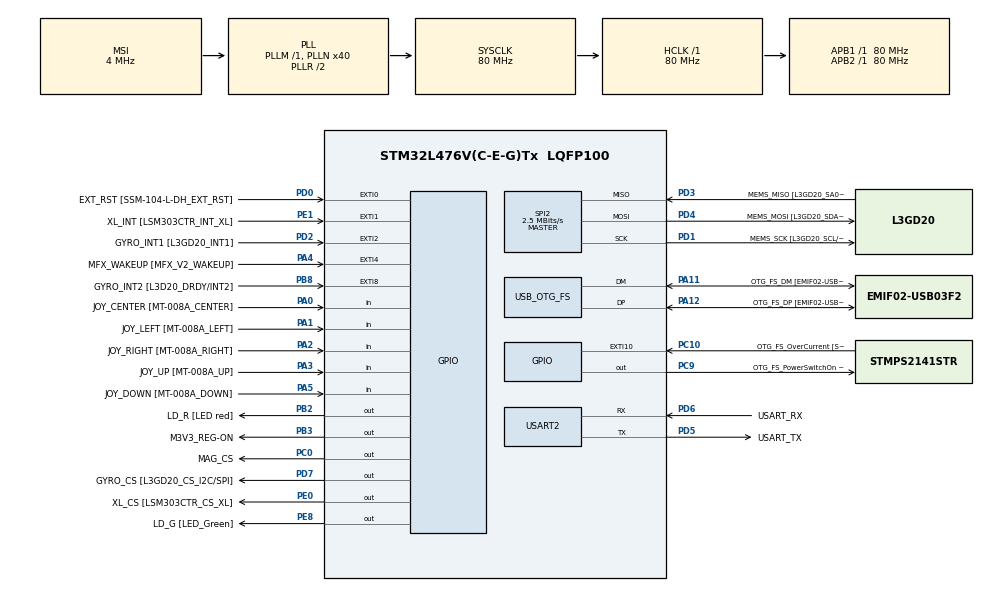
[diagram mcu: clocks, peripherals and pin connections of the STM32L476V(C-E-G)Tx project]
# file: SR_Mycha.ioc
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Mcu.Family=STM32L4
Mcu.Name=STM32L476V(C-E-G)Tx
Mcu.Package=LQFP100
NVIC.OTG_FS_IRQn=true\:0\:0\:false\:false\:true\:true\:true
NVIC.PriorityGroup=NVIC_PRIORITYGROUP_4
PA0.GPIO_Label=JOY_CENTER [MT-008A_CENTER]
PA0.GPIO_Mode=GPIO_MODE_INPUT
PA0.GPIO_PuPd=GPIO_PULLDOWN
PA0.Signal=GPIO_Input
PA1.GPIO_Label=JOY_LEFT [MT-008A_LEFT]
PA1.GPIO_Mode=GPIO_MODE_INPUT
PA1.GPIO_PuPd=GPIO_PULLDOWN
PA1.Signal=GPIO_Input
PA11.GPIO_Label=OTG_FS_DM [EMIF02-USB03F2_D-out]
PA11.GPIO_Mode=GPIO_MODE_AF_PP
PA11.GPIO_PuPd=GPIO_NOPULL
PA11.GPIO_Speed=GPIO_SPEED_FREQ_VERY_HIGH
PA11.Mode=Device_Only
PA11.Signal=USB_OTG_FS_DM
PA12.GPIO_Label=OTG_FS_DP [EMIF02-USB03F2_D+out]
PA12.GPIO_Mode=GPIO_MODE_AF_PP
PA12.GPIO_PuPd=GPIO_NOPULL
PA12.GPIO_Speed=GPIO_SPEED_FREQ_VERY_HIGH
PA12.Mode=Device_Only
PA12.Signal=USB_OTG_FS_DP
PA13\ (JTMS-SWDIO).GPIO_Label=SWDIO
PA13\ (JTMS-SWDIO).Mode=Serial_Wire
PA13\ (JTMS-SWDIO).Signal=SYS_JTMS-SWDIO
PA14\ (JTCK-SWCLK).GPIO_Label=SWCLK
PA14\ (JTCK-SWCLK).Mode=Serial_Wire
PA14\ (JTCK-SWCLK).Signal=SYS_JTCK-SWCLK
PA2.GPIO_Label=JOY_RIGHT [MT-008A_RIGHT]
PA2.GPIO_Mode=GPIO_MODE_INPUT
PA2.GPIO_PuPd=GPIO_PULLDOWN
PA2.Signal=GPIO_Input
PA3.GPIO_Label=JOY_UP [MT-008A_UP]
PA3.GPIO_Mode=GPIO_MODE_INPUT
PA3.GPIO_PuPd=GPIO_PULLDOWN
PA3.Signal=GPIO_Input
PA4.GPIO_Label=MFX_WAKEUP [MFX_V2_WAKEUP]
PA4.GPIO_ModeDefaultEXTI=GPIO_MODE_EVT_RISING
PA4.GPIO_PuPd=GPIO_NOPULL
PA4.Signal=GPXTI4
PA5.GPIO_Label=JOY_DOWN [MT-008A_DOWN]
PA5.GPIO_Mode=GPIO_MODE_INPUT
PA5.GPIO_PuPd=GPIO_PULLDOWN
PA5.Signal=GPIO_Input
PB2.GPIO_Label=LD_R [LED red]
PB2.GPIO_ModeDefaultOutputPP=GPIO_MODE_OUTPUT_PP
PB2.GPIO_PuPd=GPIO_PULLUP
PB2.GPIO_Speed=GPIO_SPEED_FREQ_VERY_HIGH
PB2.Signal=GPIO_Output
PB3\ (JTDO-TRACESWO).GPIO_Label=M3V3_REG-ON
PB3\ (JTDO-TRACESWO).GPIO_ModeDefaultOutputPP=GPIO_MODE_OUTPUT_PP
PB3\ (JTDO-TRACESWO).GPIO_PuPd=GPIO_NOPULL
PB3\ (JTDO-TRACESWO).GPIO_Speed=GPIO_SPEED_FREQ_LOW
PB3\ (JTDO-TRACESWO).Signal=GPIO_Output
PB8.GPIO_Label=GYRO_INT2 [L3D20_DRDY/INT2]
PB8.GPIO_ModeDefaultEXTI=GPIO_MODE_EVT_RISING
PB8.GPIO_PuPd=GPIO_NOPULL
PB8.Signal=GPXTI8
PC0.GPIO_Label=MAG_CS
PC0.PinState=GPIO_PIN_SET
PC0.Signal=GPIO_Output
PC10.GPIO_Label=OTG_FS_OverCurrent [STMPS2141STR_FAULT]
PC10.GPIO_ModeDefaultEXTI=GPIO_MODE_EVT_RISING
PC10.GPIO_PuPd=GPIO_NOPULL
PC10.Signal=GPXTI10
PC14-OSC32_IN\ (PC14).Mode=LSE-External-Oscillator
PC14-OSC32_IN\ (PC14).Signal=RCC_OSC32_IN
PC15-OSC32_OUT\ (PC15).Mode=LSE-External-Oscillator
PC15-OSC32_OUT\ (PC15).Signal=RCC_OSC32_OUT
PC9.GPIO_Label=OTG_FS_PowerSwitchOn [STMPS2141STR_EN]
PC9.GPIO_ModeDefaultOutputPP=GPIO_MODE_OUTPUT_PP
PC9.GPIO_PuPd=GPIO_NOPULL
PC9.GPIO_Speed=GPIO_SPEED_FREQ_LOW
PC9.PinState=GPIO_PIN_SET
PC9.Signal=GPIO_Output
PD0.GPIO_Label=EXT_RST [SSM-104-L-DH_EXT_RST]
PD0.GPIO_ModeDefaultEXTI=GPIO_MODE_EVT_RISING
PD0.GPIO_PuPd=GPIO_NOPULL
PD0.Signal=GPXTI0
PD1.GPIO_Label=MEMS_SCK [L3GD20_SCL/SPC]
PD1.GPIO_Mode=GPIO_MODE_AF_PP
PD1.GPIO_PuPd=GPIO_NOPULL
PD1.GPIO_Speed=GPIO_SPEED_FREQ_VERY_HIGH
PD1.Mode=Full_Duplex_Master
PD1.Signal=SPI2_SCK
PD2.GPIO_Label=GYRO_INT1 [L3GD20_INT1]
PD2.GPIO_ModeDefaultEXTI=GPIO_MODE_EVT_RISING
PD2.GPIO_PuPd=GPIO_NOPULL
PD2.Signal=GPXTI2
PD3.GPIO_Label=MEMS_MISO [L3GD20_SA0/SDO]
PD3.GPIO_Mode=GPIO_MODE_AF_PP
PD3.GPIO_PuPd=GPIO_NOPULL
PD3.GPIO_Speed=GPIO_SPEED_FREQ_VERY_HIGH
PD3.Mode=Full_Duplex_Master
PD3.Signal=SPI2_MISO
PD4.GPIO_Label=MEMS_MOSI [L3GD20_SDA/SDI/SDO]
PD4.GPIO_Mode=GPIO_MODE_AF_PP
PD4.GPIO_PuPd=GPIO_NOPULL
PD4.GPIO_Speed=GPIO_SPEED_FREQ_VERY_HIGH
PD4.Mode=Full_Duplex_Master
PD4.Signal=SPI2_MOSI
PD5.GPIO_Label=USART_TX
PD5.GPIO_Mode=GPIO_MODE_AF_PP
PD5.GPIO_PuPd=GPIO_PULLUP
PD5.GPIO_Speed=GPIO_SPEED_FREQ_VERY_HIGH
PD5.Mode=Asynchronous
PD5.Signal=USART2_TX
PD6.GPIO_Label=USART_RX
PD6.GPIO_Mode=GPIO_MODE_AF_PP
PD6.GPIO_PuPd=GPIO_PULLUP
PD6.GPIO_Speed=GPIO_SPEED_FREQ_VERY_HIGH
PD6.Mode=Asynchronous
PD6.Signal=USART2_RX
PD7.GPIO_Label=GYRO_CS [L3GD20_CS_I2C/SPI]
PD7.GPIO_ModeDefaultOutputPP=GPIO_MODE_OUTPUT_PP
PD7.GPIO_PuPd=GPIO_NOPULL
PD7.GPIO_Speed=GPIO_SPEED_FREQ_VERY_HIGH
PD7.PinState=GPIO_PIN_SET
PD7.Signal=GPIO_Output
PE0.GPIO_Label=XL_CS [LSM303CTR_CS_XL]
PE0.GPIO_ModeDefaultOutputPP=GPIO_MODE_OUTPUT_PP
PE0.GPIO_PuPd=GPIO_NOPULL
PE0.GPIO_Speed=GPIO_SPEED_FREQ_LOW
PE0.PinState=GPIO_PIN_RESET
PE0.Signal=GPIO_Output
PE1.GPIO_Label=XL_INT [LSM303CTR_INT_XL]
PE1.GPIO_ModeDefaultEXTI=GPIO_MODE_EVT_RISING
PE1.GPIO_PuPd=GPIO_NOPULL
PE1.Signal=GPXTI1
PE8.GPIO_Label=LD_G [LED_Green]
PE8.GPIO_ModeDefaultOutputPP=GPIO_MODE_OUTPUT_PP
PE8.GPIO_PuPd=GPIO_PULLUP
PE8.GPIO_Speed=GPIO_SPEED_FREQ_VERY_HIGH
PE8.Signal=GPIO_Output
PH0-OSC_IN\ (PH0).Mode=HSE-External-Oscillator
PH0-OSC_IN\ (PH0).Signal=RCC_OSC_IN
PH1-OSC_OUT\ (PH1).Mode=HSE-External-Oscillator
PH1-OSC_OUT\ (PH1).Signal=RCC_OSC_OUT
ProjectManager.HeapSize=0x200
ProjectManager.StackSize=0x400
ProjectManager.TargetToolchain=STM32CubeIDE
RCC.ADCFreq_Value=48000000
RCC.AHBFreq_Value=80000000
RCC.APB1Freq_Value=80000000
RCC.APB1TimFreq_Value=80000000
RCC.APB2Freq_Value=80000000
RCC.APB2TimFreq_Value=80000000
RCC.CortexFreq_Value=80000000
RCC.HCLKFreq_Value=80000000
RCC.HSE_VALUE=8000000
RCC.HSI_VALUE=16000000
RCC.MSI_VALUE=4000000
RCC.PLLN=40
RCC.PLLSAI1N=24
RCC.PREFETCH_ENABLE=1
RCC.SYSCLKFreq_VALUE=80000000
RCC.SYSCLKSource=RCC_SYSCLKSOURCE_PLLCLK
RCC.USBFreq_Value=48000000
RCC.VCOOutputFreq_Value=160000000
SPI2.BaudRatePrescaler=SPI_BAUDRATEPRESCALER_32
SPI2.CLKPhase=SPI_PHASE_1EDGE
SPI2.CLKPolarity=SPI_POLARITY_LOW
SPI2.CalculateBaudRate=2.5 MBits/s
SPI2.DataSize=SPI_DATASIZE_8BIT
SPI2.Direction=SPI_DIRECTION_2LINES
SPI2.Mode=SPI_MODE_MASTER
SPI2.VirtualType=VM_MASTER
USART2.VirtualMode-Asynchronous=VM_ASYNC
USB_DEVICE.CLASS_NAME_FS=HID
USB_DEVICE.PRODUCT_STRING_HID_FS=HID_USB
USB_DEVICE.VirtualMode=Hid
USB_DEVICE.VirtualModeFS=Hid_FS
USB_OTG_FS.VirtualMode=Device_Only
VP_TIM6_VS_ClockSourceINT.Mode=Enable_Timer
VP_USB_DEVICE_VS_USB_DEVICE_HID_FS.Mode=HID_FS
board=STM32L476G-DISCO

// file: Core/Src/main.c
/* USER CODE BEGIN Header */
/**
  ******************************************************************************
  * @file           : main.c
  * @brief          : Main program body
  ******************************************************************************
  * @attention
  *
  * <h2><center>&copy; Copyright (c) 2025 STMicroelectronics.
  * All rights reserved.</center></h2>
  *
  * This software component is licensed by ST under Ultimate Liberty license
  * SLA0044, the "License"; You may not use this file except in compliance with
  * the License. You may obtain a copy of the License at:
  *                             www.st.com/SLA0044
  *
  ******************************************************************************
  */
/* USER CODE END Header */
#include "main.h"
#include "spi.h"
#include "tim.h"
#include "usart.h"
#include "usb_device.h"
#include "gpio.h"

/* USER CODE BEGIN Includes */
#include <stdio.h>
#include "buttons.h"
#include "accelerometer.h"
#include "gyroscope.h"
#include "usbhid.h"
/* USER CODE END Includes */

/* USER CODE BEGIN PV */

//float filteredGyro[3] = {0};
int16_t filteredAcc[3] = {0};
int16_t offset[3];
mouseHID mousehid = {0,0,0,0};
int8_t dpi = 1;

/* USER CODE END PV */

void SystemClock_Config(void);
/* USER CODE BEGIN PFP */

int _write(int file, char *ptr, int len) {
    HAL_UART_Transmit(&huart2, (uint8_t*) ptr, len, 100);
    return len;
}

/* USER CODE END PFP */

int main(void)
{

  /* MCU Configuration--------------------------------------------------------*/

  /* Reset of all peripherals, Initializes the Flash interface and the Systick. */
  HAL_Init();

  /* Configure the system clock */
  SystemClock_Config();

  /* Initialize all configured peripherals */
  MX_GPIO_Init();
  MX_SPI2_Init();
  MX_USART2_UART_Init();
  MX_TIM6_Init();
  MX_USB_DEVICE_Init();
  /* USER CODE BEGIN 2 */

//  if(!gyroInit()){Error_Handler();}

  if(!accInit()){Error_Handler();}
  accel_calibrate(offset, 100);

  /* USER CODE END 2 */

  /* Infinite loop */
  while (1)
  {

    /* USER CODE BEGIN 3 */
	 // gyroGetData(filteredGyro);
	  accGetData(filteredAcc);
	  AccToMouse_Process(mousehid,filteredAcc,&dpi);

//	  if(DPI_level != 3)
//	  printf("DPI: %d\n",dpi);

	  HAL_Delay(20);

  }
  /* USER CODE END 3 */
}

void SystemClock_Config(void)
{
  RCC_OscInitTypeDef RCC_OscInitStruct = {0};
  RCC_ClkInitTypeDef RCC_ClkInitStruct = {0};
  RCC_PeriphCLKInitTypeDef PeriphClkInit = {0};

  /** Configure LSE Drive Capability
  */
  HAL_PWR_EnableBkUpAccess();
  __HAL_RCC_LSEDRIVE_CONFIG(RCC_LSEDRIVE_LOW);
  /** Initializes the RCC Oscillators according to the specified parameters
  * in the RCC_OscInitTypeDef structure.
  */
  RCC_OscInitStruct.OscillatorType = RCC_OSCILLATORTYPE_LSE|RCC_OSCILLATORTYPE_MSI;
  RCC_OscInitStruct.LSEState = RCC_LSE_ON;
  RCC_OscInitStruct.MSIState = RCC_MSI_ON;
  RCC_OscInitStruct.MSICalibrationValue = 0;
  RCC_OscInitStruct.MSIClockRange = RCC_MSIRANGE_6;
  RCC_OscInitStruct.PLL.PLLState = RCC_PLL_ON;
  RCC_OscInitStruct.PLL.PLLSource = RCC_PLLSOURCE_MSI;
  RCC_OscInitStruct.PLL.PLLM = 1;
  RCC_OscInitStruct.PLL.PLLN = 40;
  RCC_OscInitStruct.PLL.PLLP = RCC_PLLP_DIV7;
  RCC_OscInitStruct.PLL.PLLQ = RCC_PLLQ_DIV2;
  RCC_OscInitStruct.PLL.PLLR = RCC_PLLR_DIV2;
  if (HAL_RCC_OscConfig(&RCC_OscInitStruct) != HAL_OK)
  {
    Error_Handler();
  }
  /** Initializes the CPU, AHB and APB buses clocks
  */
  RCC_ClkInitStruct.ClockType = RCC_CLOCKTYPE_HCLK|RCC_CLOCKTYPE_SYSCLK
                              |RCC_CLOCKTYPE_PCLK1|RCC_CLOCKTYPE_PCLK2;
  RCC_ClkInitStruct.SYSCLKSource = RCC_SYSCLKSOURCE_PLLCLK;
  RCC_ClkInitStruct.AHBCLKDivider = RCC_SYSCLK_DIV1;
  RCC_ClkInitStruct.APB1CLKDivider = RCC_HCLK_DIV1;
  RCC_ClkInitStruct.APB2CLKDivider = RCC_HCLK_DIV1;

  if (HAL_RCC_ClockConfig(&RCC_ClkInitStruct, FLASH_LATENCY_4) != HAL_OK)
  {
    Error_Handler();
  }
  PeriphClkInit.PeriphClockSelection = RCC_PERIPHCLK_USART2|RCC_PERIPHCLK_USB;
  PeriphClkInit.Usart2ClockSelection = RCC_USART2CLKSOURCE_PCLK1;
  PeriphClkInit.UsbClockSelection = RCC_USBCLKSOURCE_PLLSAI1;
  PeriphClkInit.PLLSAI1.PLLSAI1Source = RCC_PLLSOURCE_MSI;
  PeriphClkInit.PLLSAI1.PLLSAI1M = 1;
  PeriphClkInit.PLLSAI1.PLLSAI1N = 24;
  PeriphClkInit.PLLSAI1.PLLSAI1P = RCC_PLLP_DIV7;
  PeriphClkInit.PLLSAI1.PLLSAI1Q = RCC_PLLQ_DIV2;
  PeriphClkInit.PLLSAI1.PLLSAI1R = RCC_PLLR_DIV2;
  PeriphClkInit.PLLSAI1.PLLSAI1ClockOut = RCC_PLLSAI1_48M2CLK;
  if (HAL_RCCEx_PeriphCLKConfig(&PeriphClkInit) != HAL_OK)
  {
    Error_Handler();
  }
  /** Configure the main internal regulator output voltage
  */
  if (HAL_PWREx_ControlVoltageScaling(PWR_REGULATOR_VOLTAGE_SCALE1) != HAL_OK)
  {
    Error_Handler();
  }
  /** Enable MSI Auto calibration
  */
  HAL_RCCEx_EnableMSIPLLMode();
}

void Error_Handler(void)
{
  /* USER CODE BEGIN Error_Handler_Debug */
  /* User can add his own implementation to report the HAL error return state */
	HAL_GPIO_TogglePin(GPIOB, GPIO_PIN_2);
	HAL_Delay(500);

  /* USER CODE END Error_Handler_Debug */
}

/************************ (C) COPYRIGHT STMicroelectronics *****END OF FILE****/
